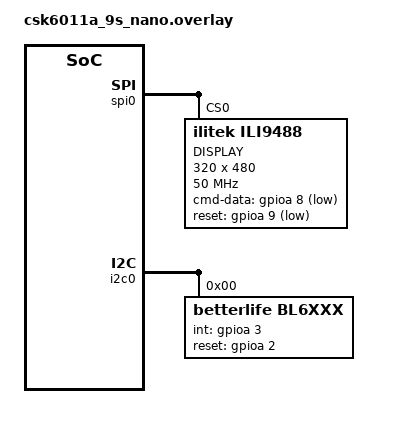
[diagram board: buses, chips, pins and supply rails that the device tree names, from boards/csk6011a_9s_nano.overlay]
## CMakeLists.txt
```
# SPDX-License-Identifier: Apache-2.0

cmake_minimum_required(VERSION 3.20.0)

set(SUPPORT_BOARDS csk6012_nano csk6011a_nano)
if(NOT ${BOARD} IN_LIST SUPPORT_BOARDS)
    message("Please choose one of the following boards:")
    foreach(item ${SUPPORT_BOARDS})
        message(STATUS ${item})
    endforeach()
    message(FATAL_ERROR "\nThe project does not support the ${BOARD}")
endif()

find_package(Zephyr REQUIRED HINTS $ENV{ZEPHYR_BASE})
project(lvgl)

FILE(GLOB app_sources src/*.c)
target_sources(app PRIVATE ${app_sources})
```

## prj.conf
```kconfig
CONFIG_HEAP_MEM_POOL_SIZE=16384
CONFIG_MAIN_STACK_SIZE=2048

CONFIG_DISPLAY=y
CONFIG_DISPLAY_LOG_LEVEL_ERR=y

CONFIG_LOG=y
CONFIG_LOG_STRDUP_BUF_COUNT=16

CONFIG_LVGL=y
CONFIG_LV_Z_DISPLAY_DEV_NAME="ST7789V"
CONFIG_LV_Z_HOR_RES_MAX=320
CONFIG_LV_Z_VER_RES_MAX=480
CONFIG_LV_Z_POINTER_KSCAN=y
CONFIG_LV_Z_POINTER_KSCAN_DEV_NAME="FT5336"

CONFIG_GPIO=y
CONFIG_SPI=y
CONFIG_ST7789V=y

CONFIG_I2C=y
CONFIG_KSCAN=y
CONFIG_KSCAN_FT5336=y
CONFIG_KSCAN_FT5336_INTERRUPT=y

CONFIG_LV_COLOR_16_SWAP=y
CONFIG_LV_Z_POINTER_KSCAN_INVERT_X=y
```

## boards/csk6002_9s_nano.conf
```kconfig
CONFIG_KSCAN=y
CONFIG_LV_Z_POINTER_KSCAN_SWAP_XY=y
CONFIG_LV_Z_POINTER_KSCAN=y
CONFIG_LV_Z_POINTER_KSCAN_DEV_NAME="BL6XXX"

CONFIG_DISPLAY=y
CONFIG_LV_Z_DISPLAY_DEV_NAME="DISPLAY"
CONFIG_LV_Z_HOR_RES_MAX=320
CONFIG_LV_Z_VER_RES_MAX=480
```

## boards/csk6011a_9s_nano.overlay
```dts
#include <dt-bindings/display/ili9xxx.h>
&csk6011a_9s_nano_pinctrl{ 
                pinctrl_i2c0_scl_default: i2c0_scl_default{
                        pinctrls = <&pinmuxb 2 8>;
                };
                
                pinctrl_i2c0_sda_default: i2c0_sda_default{
                        pinctrls = <&pinmuxb 3 8>;
                };    

                pinctrl_spi0_sclk_default: spi0_sclk_default {
                        pinctrls = < &pinmuxa 7 6 >;
                };
                pinctrl_spi0_mosi_default: spi0_mosi_default {
                        pinctrls = < &pinmuxa 6 6 >;
                };
                pinctrl_spi0_miso_default: spi0_miso_default {
                        pinctrls = < &pinmuxa 5 6 >;
                };
                pinctrl_spi0_cs_default: spi0_cs_default {
                        pinctrls = < &pinmuxa 4 6 >;
                }; 
};

&spi0 {
        status = "okay";
        pinctrl-0 = <&pinctrl_spi0_sclk_default &pinctrl_spi0_mosi_default &pinctrl_spi0_miso_default &pinctrl_spi0_cs_default>; 
        pinctrl-names = "default";

        ili9488@0 {
        compatible = "ilitek,ili9488";
        label = "DISPLAY";
        spi-max-frequency = <50000000>;
        reg = <0>;
        cmd-data-gpios = <&gpioa 8 1>; 
        reset-gpios = <&gpioa 9 1>; 
        width = < 320 >;
        height = < 480 >;
        pixel-format = <ILI9XXX_PIXEL_FORMAT_RGB888>;
        rotation = <0>;
        frmctr1 = [a0 11];
        pwctrl1 = [17 15];
        pwctrl2 = [41];
        pgamctrl = [00 03 09 08 16 0a 3f 78 4c 09 0a 08 16 1a 0f];
        ngamctrl = [00 16 19 03 0f 05 32 45 46 04 0e 0d 35 37 0f];
    };
};

&i2c0 {
        status = "okay";
        pinctrl-0 = <&pinctrl_i2c0_scl_default &pinctrl_i2c0_sda_default>; 
        pinctrl-names = "default";
        bl6xxx@0 {
                compatible = "betterlife,bl6xxx";
                reg = <0>;
                label = "BL6XXX";
                status = "okay";
                int-gpios = <&gpioa 3 0>;
                reset-gpios = <&gpioa 2 0>;
        };
};
```

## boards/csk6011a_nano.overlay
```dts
/*
 * Copyright (c) 2023 Anhui(Shenzhen) Listenai Co., Ltd.
 *
 * SPDX-License-Identifier: Apache-2.0
 */
&pinctrl {

	pinctrl_i2c0_scl_default: i2c0_scl_default{
		pinctrls = <I2C0_SCL_GPIOB_04>;
	};

	pinctrl_i2c0_sda_default: i2c0_sda_default{
		pinctrls = <I2C0_SDA_GPIOB_03>;
	};

	pinctrl_spi0_sclk_default: spi0_sclk_default {
		pinctrls = <&pinmuxb 1 6>;
	};
	pinctrl_spi0_mosi_default: spi0_mosi_default {
		pinctrls = <&pinmuxb 10 6>;
	};
	pinctrl_spi0_miso_default: spi0_miso_default {
		pinctrls = <&pinmuxa 17 6>;
	};
	pinctrl_spi0_cs_default: spi0_cs_default {
		pinctrls = <&pinmuxb 0 6>;
	};

};

&spi0 {
	status = "okay";
	pinctrl-0 = <&pinctrl_spi0_sclk_default &pinctrl_spi0_mosi_default &pinctrl_spi0_miso_default &pinctrl_spi0_cs_default>;
	pinctrl-names = "default";

	st7789v@0 {
		compatible = "sitronix,st7789v";
		label = "ST7789V";
		status = "okay";
		spi-max-frequency = <20000000>;
		reg = <0>;
		cmd-data-gpios = <&gpiob 2 1>;
		reset-gpios = <&gpioa 15 1>;
		width = <320>;
		height = <240>;
		x-offset = <0>;
		y-offset = <0>;
		// reg: 0xBB
		vcom = <0x1e>;
		// reg: 0xB7
		gctrl = <0x35>;
		// reg: 0xC3
		vrhs = <0x0b>;
		// reg: 0xC4
		vdvs = <0x20>;
		// reg: 0x36
		mdac = <0xA3>;
		// reg: 0x26
		gamma = <0x01>;
		// reg: 0x3a
		colmod = <0x05>;
		// reg: 0xc0
		lcm = <0x3c>;
		// reg: 0xb2
		porch-param = [ 0c 0c 00 33 33  ];
		// reg: 0xDF
		cmd2en-param = [ 5a 69 02 01  ];
		// reg: 0xD0
		pwctrl1-param = [ a4 a1  ];
		// reg: 0xE0
		pvgam-param = [ d0 06 0b 07 07 24 2e 32 46 37 13 13 2d 33  ];
		// reg: 0xE1
		nvgam-param = [ d0 02 06 09 08 05 29 44 42 38 14 14 2a 30  ];
		// reg: b0
		ram-param = [ 00 F0  ];
		// reg: b1
		rgb-param = [ CD 08 14  ];
	};
};

&i2c0 {
	status = "okay";
	pinctrl-0 = <&pinctrl_i2c0_scl_default &pinctrl_i2c0_sda_default>;
	pinctrl-names = "default";
	ft5336@0 {
		compatible = "focaltech,ft5336";
		reg = <56>;
		label = "FT5336";
		status = "okay";
		int-gpios = <&gpiob 11 0>;
	};
};
```

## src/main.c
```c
/*
 * Copyright (c) 2023 Anhui(Shenzhen) Listenai Co., Ltd.
 *
 * SPDX-License-Identifier: Apache-2.0
 */
#include <stdio.h>
#include <string.h>

#include <zephyr/device.h>
#include <zephyr/drivers/display.h>
#include <zephyr/zephyr.h>

#include <lvgl.h>

#define LOG_LEVEL CONFIG_LOG_DEFAULT_LEVEL
#include <zephyr/logging/log.h>
LOG_MODULE_REGISTER(app);

void main(void)
{
	uint32_t count = 0U;
	char count_str[11] = {0};
	const struct device *display_dev;
	lv_obj_t *hello_world_label;
	lv_obj_t *count_label;

	display_dev = device_get_binding(CONFIG_LV_Z_DISPLAY_DEV_NAME);
	if (!device_is_ready(display_dev)) {
		LOG_ERR("Device not ready, aborting test");
		return;
	}

	if (IS_ENABLED(CONFIG_LV_Z_POINTER_KSCAN)) {
		lv_obj_t *hello_world_button;

		hello_world_button = lv_btn_create(lv_scr_act());
		lv_obj_align(hello_world_button, LV_ALIGN_CENTER, 0, 0);
		hello_world_label = lv_label_create(hello_world_button);
	} else {
		hello_world_label = lv_label_create(lv_scr_act());
	}

	lv_label_set_text(hello_world_label, "Hello world!");
	lv_obj_align(hello_world_label, LV_ALIGN_CENTER, 0, 0);

	count_label = lv_label_create(lv_scr_act());
	lv_obj_align(count_label, LV_ALIGN_BOTTOM_MID, 0, 0);

	lv_task_handler();
	display_blanking_off(display_dev);

	while (1) {
		if ((count % 100) == 0U) {
			sprintf(count_str, "%d", count / 100U);
			lv_label_set_text(count_label, count_str);
		}
		lv_task_handler();
		k_sleep(K_MSEC(10));
		++count;
	}
}
```
